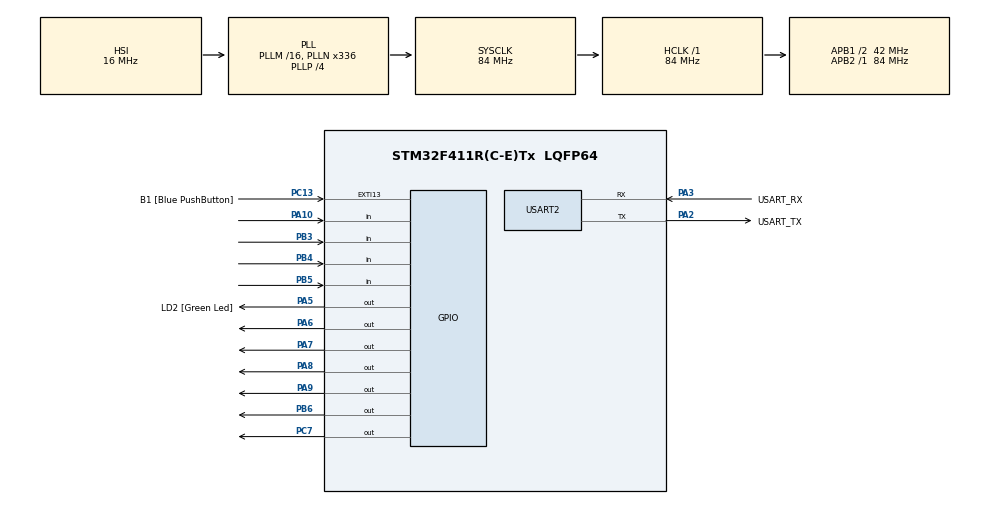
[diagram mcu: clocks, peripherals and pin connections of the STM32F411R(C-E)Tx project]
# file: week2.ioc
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Mcu.Family=STM32F4
Mcu.Name=STM32F411R(C-E)Tx
Mcu.Package=LQFP64
NVIC.PriorityGroup=NVIC_PRIORITYGROUP_0
PA10.GPIO_PuPd=GPIO_PULLUP
PA10.Signal=GPIO_Input
PA13.GPIO_Label=TMS
PA13.Mode=Serial_Wire
PA13.Signal=SYS_JTMS-SWDIO
PA14.GPIO_Label=TCK
PA14.Mode=Serial_Wire
PA14.Signal=SYS_JTCK-SWCLK
PA2.GPIO_Label=USART_TX
PA2.Mode=Asynchronous
PA2.Signal=USART2_TX
PA3.GPIO_Label=USART_RX
PA3.Mode=Asynchronous
PA3.Signal=USART2_RX
PA5.GPIO_Label=LD2 [Green Led]
PA5.GPIO_ModeDefaultOutputPP=GPIO_MODE_OUTPUT_OD
PA5.PinState=GPIO_PIN_RESET
PA5.Signal=GPIO_Output
PA6.Signal=GPIO_Output
PA7.GPIO_ModeDefaultOutputPP=GPIO_MODE_OUTPUT_OD
PA7.PinState=GPIO_PIN_SET
PA7.Signal=GPIO_Output
PA8.Signal=GPIO_Output
PA9.GPIO_ModeDefaultOutputPP=GPIO_MODE_OUTPUT_OD
PA9.PinState=GPIO_PIN_SET
PA9.Signal=GPIO_Output
PB3.GPIO_PuPd=GPIO_PULLUP
PB3.Signal=GPIO_Input
PB4.GPIO_PuPd=GPIO_PULLUP
PB4.Signal=GPIO_Input
PB5.GPIO_PuPd=GPIO_PULLUP
PB5.Signal=GPIO_Input
PB6.GPIO_ModeDefaultOutputPP=GPIO_MODE_OUTPUT_OD
PB6.PinState=GPIO_PIN_SET
PB6.Signal=GPIO_Output
PC13-ANTI_TAMP.GPIO_Label=B1 [Blue PushButton]
PC13-ANTI_TAMP.GPIO_ModeDefaultEXTI=GPIO_MODE_IT_FALLING
PC13-ANTI_TAMP.Signal=GPXTI13
PC14-OSC32_IN.Mode=LSE-External-Oscillator
PC14-OSC32_IN.Signal=RCC_OSC32_IN
PC15-OSC32_OUT.Mode=LSE-External-Oscillator
PC15-OSC32_OUT.Signal=RCC_OSC32_OUT
PC7.GPIO_ModeDefaultOutputPP=GPIO_MODE_OUTPUT_OD
PC7.PinState=GPIO_PIN_SET
PC7.Signal=GPIO_Output
PH0\ -\ OSC_IN.Mode=HSE-External-Clock-Source
PH0\ -\ OSC_IN.Signal=RCC_OSC_IN
PH1\ -\ OSC_OUT.Mode=HSE-External-Clock-Source
PH1\ -\ OSC_OUT.Signal=RCC_OSC_OUT
ProjectManager.HeapSize=0x200
ProjectManager.StackSize=0x400
ProjectManager.TargetToolchain=STM32CubeIDE
RCC.48MHZClocksFreq_Value=84000000
RCC.AHBFreq_Value=84000000
RCC.APB1CLKDivider=RCC_HCLK_DIV2
RCC.APB1Freq_Value=42000000
RCC.APB1TimFreq_Value=84000000
RCC.APB2Freq_Value=84000000
RCC.APB2TimFreq_Value=84000000
RCC.CortexFreq_Value=84000000
RCC.FLatency-AdvancedSettings=FLASH_LATENCY_2
RCC.HCLKFreq_Value=84000000
RCC.HSE_VALUE=8000000
RCC.HSI_VALUE=16000000
RCC.PLLN=336
RCC.PLLP=RCC_PLLP_DIV4
RCC.SYSCLKFreq_VALUE=84000000
RCC.SYSCLKSource=RCC_SYSCLKSOURCE_PLLCLK
RCC.VCOOutputFreq_Value=336000000
USART2.VirtualMode=VM_ASYNC
board=NUCLEO-F411RE

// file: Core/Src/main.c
/* USER CODE BEGIN Header */
/**
  ******************************************************************************
  * @file           : main.c
  * @brief          : Main program body
  ******************************************************************************
  * @attention
  *
  * <h2><center>&copy; Copyright (c) 2021 STMicroelectronics.
  * All rights reserved.</center></h2>
  *
  * This software component is licensed by ST under BSD 3-Clause license,
  * the "License"; You may not use this file except in compliance with the
  * License. You may obtain a copy of the License at:
  *                        opensource.org/licenses/BSD-3-Clause
  *
  ******************************************************************************
  */
/* USER CODE END Header */
#include "main.h"

UART_HandleTypeDef huart2;

/* USER CODE BEGIN PV */

uint16_t ButtonMatrixState = 0;
uint32_t ButtonMatrixTimeStamp = 0;
uint32_t Buttonpress[2] = {0};
uint8_t LED = 0;
uint8_t state = 1;
enum
{
	statestart = 0,
 ///////////////////////////////////
	press_1 = 256,
	press_2 = 512,
	press_3 = 1024,
	press_4 = 16,
	press_5 = 32,
	press_6 = 64,
	press_7 = 1,
	press_8 = 2,
	press_9 = 4,
	press_0 = 4096,
	press_OK = 32768,
	press_Clear= 8

};

/* USER CODE END PV */

void SystemClock_Config(void);
static void MX_GPIO_Init(void);
static void MX_USART2_UART_Init(void);
/* USER CODE BEGIN PFP */

void ButtonMatrixUpdate(); //Scan and Update data of Button Matrix

/* USER CODE END PFP */

int main(void)
{

  /* MCU Configuration--------------------------------------------------------*/

  /* Reset of all peripherals, Initializes the Flash interface and the Systick. */
  HAL_Init();

  /* Configure the system clock */
  SystemClock_Config();

  /* Initialize all configured peripherals */
  MX_GPIO_Init();
  MX_USART2_UART_Init();
  /* USER CODE BEGIN 2 */
  //--------------------------------------------------------------------------------

  //--------------------------------------------------------------------------------
  /* USER CODE END 2 */

  /* Infinite loop */
  /* USER CODE BEGIN WHILE */

  //--------------------------------------------------------------------------------
  while (1)
  {
	  ButtonMatrixUpdate();
	  Buttonpress[0] = ButtonMatrixState;
	  if(ButtonMatrixState == 1  || ButtonMatrixState == 2   || ButtonMatrixState == 4   || ButtonMatrixState == 8  ||
	     ButtonMatrixState == 16 || ButtonMatrixState ==32   || ButtonMatrixState ==64   || ButtonMatrixState == 256||
	     ButtonMatrixState ==512 || ButtonMatrixState ==1024 || ButtonMatrixState ==4096 || ButtonMatrixState == 32768 )
	  {
	      HAL_GPIO_WritePin(GPIOA, GPIO_PIN_6, GPIO_PIN_RESET);
	  }
	  else
	  {
		  HAL_GPIO_WritePin(GPIOA, GPIO_PIN_6, GPIO_PIN_SET);
	  }
	  if(Buttonpress[0] == 0 && Buttonpress[1] != 0)
	  {
		  switch(state)
		     {

		      case 1:
		         if(Buttonpress[1] == press_6)
		         {
		          state = 2;
		         }
		           else
		         {
		          state = 1;
		         }
		         break;
		      case 2:
		    	 if(Buttonpress[1] == press_2)
		         {
		          state = 3;
		         }
		         else
		         {
		          state = 1;
		         }
		         break;
		      case 3:
		         if(Buttonpress[1] == press_3)
		         {
		          state = 4;
		         }
		         else
		         {
		          state = 1;
		         }
		         break;
		      case 4:
		         if(Buttonpress[1] == press_4)
		         {
		          state = 5;
		         }
		         else
		         {
		          state = 1;
		         }
		         break;
		      case 5:
		         if(Buttonpress[1] == press_0)
		         {
		          state = 6;
		         }
		         else
		         {
		          state = 1;
		         }
		         break;
		      case 6:
		         if(Buttonpress[1] == press_5)
		         {
		          state = 7;
		         }
		         else
		         {
		          state = 1;
		         }
		         break;
		      case 7:
		         if(Buttonpress[1] == press_0)
		         {
		          state = 8;
		         }
		         else
		         {
		          state = 1;
		         }
		         break;
		      case 8:
		         if(Buttonpress[1] == press_0)
		         {
		          state = 9;
		         }
		         else
		         {
		          state = 1;
		         }
		         break;
		      case 9:
		         if(Buttonpress[1] == press_0)
		         {
		          state = 10;
		         }
		         else
		         {
		          state = 1;
		         }
		         break;
		      case 10:
		         if(Buttonpress[1] == press_5)
		         {
		          state = 11;
		         }
		         else
		         {
		          state = 1;
		         }
		         break;
		      case 11:
		         if(Buttonpress[1] == press_3)
		         {
		          state = 12;
		         }
		         else
		         {
		          state = 1;
		         }
		         break;
		      case 12:
		         if(Buttonpress[1] == press_OK)
		         {
		          LED = 1;
		         }
		         else
		         {
		          state = 1;
		          LED = 0;
		         }
		         break;
		      default:
		         state = 1;
		         break;
		     }
	  }
	  Buttonpress[1] = Buttonpress[0];

	  //Run LED (key = 62340500053) ----------------------------------------//
	  if(LED == 1  )
	  {
		  HAL_GPIO_WritePin(GPIOA, GPIO_PIN_8, GPIO_PIN_RESET);
	  }
	  else
	  {
		  HAL_GPIO_WritePin(GPIOA, GPIO_PIN_8, GPIO_PIN_SET);
	  }

  //--------------------------------------------------------------------------------
    /* USER CODE END WHILE */

  }
}

void SystemClock_Config(void)
{
  RCC_OscInitTypeDef RCC_OscInitStruct = {0};
  RCC_ClkInitTypeDef RCC_ClkInitStruct = {0};

  /** Configure the main internal regulator output voltage
  */
  __HAL_RCC_PWR_CLK_ENABLE();
  __HAL_PWR_VOLTAGESCALING_CONFIG(PWR_REGULATOR_VOLTAGE_SCALE1);
  /** Initializes the RCC Oscillators according to the specified parameters
  * in the RCC_OscInitTypeDef structure.
  */
  RCC_OscInitStruct.OscillatorType = RCC_OSCILLATORTYPE_HSI;
  RCC_OscInitStruct.HSIState = RCC_HSI_ON;
  RCC_OscInitStruct.HSICalibrationValue = RCC_HSICALIBRATION_DEFAULT;
  RCC_OscInitStruct.PLL.PLLState = RCC_PLL_ON;
  RCC_OscInitStruct.PLL.PLLSource = RCC_PLLSOURCE_HSI;
  RCC_OscInitStruct.PLL.PLLM = 16;
  RCC_OscInitStruct.PLL.PLLN = 336;
  RCC_OscInitStruct.PLL.PLLP = RCC_PLLP_DIV4;
  RCC_OscInitStruct.PLL.PLLQ = 4;
  if (HAL_RCC_OscConfig(&RCC_OscInitStruct) != HAL_OK)
  {
    Error_Handler();
  }
  /** Initializes the CPU, AHB and APB buses clocks
  */
  RCC_ClkInitStruct.ClockType = RCC_CLOCKTYPE_HCLK|RCC_CLOCKTYPE_SYSCLK
                              |RCC_CLOCKTYPE_PCLK1|RCC_CLOCKTYPE_PCLK2;
  RCC_ClkInitStruct.SYSCLKSource = RCC_SYSCLKSOURCE_PLLCLK;
  RCC_ClkInitStruct.AHBCLKDivider = RCC_SYSCLK_DIV1;
  RCC_ClkInitStruct.APB1CLKDivider = RCC_HCLK_DIV2;
  RCC_ClkInitStruct.APB2CLKDivider = RCC_HCLK_DIV1;

  if (HAL_RCC_ClockConfig(&RCC_ClkInitStruct, FLASH_LATENCY_2) != HAL_OK)
  {
    Error_Handler();
  }
}

static void MX_USART2_UART_Init(void)
{

  huart2.Instance = USART2;
  huart2.Init.BaudRate = 115200;
  huart2.Init.WordLength = UART_WORDLENGTH_8B;
  huart2.Init.StopBits = UART_STOPBITS_1;
  huart2.Init.Parity = UART_PARITY_NONE;
  huart2.Init.Mode = UART_MODE_TX_RX;
  huart2.Init.HwFlowCtl = UART_HWCONTROL_NONE;
  huart2.Init.OverSampling = UART_OVERSAMPLING_16;
  if (HAL_UART_Init(&huart2) != HAL_OK)
  {
    Error_Handler();
  }

}

static void MX_GPIO_Init(void)
{
  GPIO_InitTypeDef GPIO_InitStruct = {0};

  /* GPIO Ports Clock Enable */
  __HAL_RCC_GPIOC_CLK_ENABLE();
  __HAL_RCC_GPIOH_CLK_ENABLE();
  __HAL_RCC_GPIOA_CLK_ENABLE();
  __HAL_RCC_GPIOB_CLK_ENABLE();

  /*Configure GPIO pin Output Level */
  HAL_GPIO_WritePin(GPIOA, LD2_Pin|GPIO_PIN_6|GPIO_PIN_8, GPIO_PIN_RESET);

  /*Configure GPIO pin Output Level */
  HAL_GPIO_WritePin(GPIOA, GPIO_PIN_7|GPIO_PIN_9, GPIO_PIN_SET);

  /*Configure GPIO pin Output Level */
  HAL_GPIO_WritePin(GPIOC, GPIO_PIN_7, GPIO_PIN_SET);

  /*Configure GPIO pin Output Level */
  HAL_GPIO_WritePin(GPIOB, GPIO_PIN_6, GPIO_PIN_SET);

  /*Configure GPIO pin : B1_Pin */
  GPIO_InitStruct.Pin = B1_Pin;
  GPIO_InitStruct.Mode = GPIO_MODE_IT_FALLING;
  GPIO_InitStruct.Pull = GPIO_NOPULL;
  HAL_GPIO_Init(B1_GPIO_Port, &GPIO_InitStruct);

  /*Configure GPIO pins : LD2_Pin PA7 PA9 */
  GPIO_InitStruct.Pin = LD2_Pin|GPIO_PIN_7|GPIO_PIN_9;
  GPIO_InitStruct.Mode = GPIO_MODE_OUTPUT_OD;
  GPIO_InitStruct.Pull = GPIO_NOPULL;
  GPIO_InitStruct.Speed = GPIO_SPEED_FREQ_LOW;
  HAL_GPIO_Init(GPIOA, &GPIO_InitStruct);

  /*Configure GPIO pins : PA6 PA8 */
  GPIO_InitStruct.Pin = GPIO_PIN_6|GPIO_PIN_8;
  GPIO_InitStruct.Mode = GPIO_MODE_OUTPUT_PP;
  GPIO_InitStruct.Pull = GPIO_NOPULL;
  GPIO_InitStruct.Speed = GPIO_SPEED_FREQ_LOW;
  HAL_GPIO_Init(GPIOA, &GPIO_InitStruct);

  /*Configure GPIO pin : PC7 */
  GPIO_InitStruct.Pin = GPIO_PIN_7;
  GPIO_InitStruct.Mode = GPIO_MODE_OUTPUT_OD;
  GPIO_InitStruct.Pull = GPIO_NOPULL;
  GPIO_InitStruct.Speed = GPIO_SPEED_FREQ_LOW;
  HAL_GPIO_Init(GPIOC, &GPIO_InitStruct);

  /*Configure GPIO pin : PA10 */
  GPIO_InitStruct.Pin = GPIO_PIN_10;
  GPIO_InitStruct.Mode = GPIO_MODE_INPUT;
  GPIO_InitStruct.Pull = GPIO_PULLUP;
  HAL_GPIO_Init(GPIOA, &GPIO_InitStruct);

  /*Configure GPIO pins : PB3 PB4 PB5 */
  GPIO_InitStruct.Pin = GPIO_PIN_3|GPIO_PIN_4|GPIO_PIN_5;
  GPIO_InitStruct.Mode = GPIO_MODE_INPUT;
  GPIO_InitStruct.Pull = GPIO_PULLUP;
  HAL_GPIO_Init(GPIOB, &GPIO_InitStruct);

  /*Configure GPIO pin : PB6 */
  GPIO_InitStruct.Pin = GPIO_PIN_6;
  GPIO_InitStruct.Mode = GPIO_MODE_OUTPUT_OD;
  GPIO_InitStruct.Pull = GPIO_NOPULL;
  GPIO_InitStruct.Speed = GPIO_SPEED_FREQ_LOW;
  HAL_GPIO_Init(GPIOB, &GPIO_InitStruct);

}

/* USER CODE BEGIN 4 */
//Function Implementation
GPIO_TypeDef* ButtonMatrixPort[8] = {GPIOA,       GPIOB,      GPIOB,      GPIOB,             GPIOA,      GPIOC,      GPIOB,      GPIOA     };
uint16_t      ButtonMatrixPin [8] = {GPIO_PIN_10, GPIO_PIN_3, GPIO_PIN_5, GPIO_PIN_4,        GPIO_PIN_9, GPIO_PIN_7, GPIO_PIN_6, GPIO_PIN_7};
uint8_t       ButtonMatrixLine    = 0;
void ButtonMatrixUpdate()
{
	if(HAL_GetTick() - ButtonMatrixTimeStamp >= 100)
	{
		ButtonMatrixTimeStamp = HAL_GetTick();
		for(int i = 0; i < 4; i++)
		{
			GPIO_PinState PinState = HAL_GPIO_ReadPin(ButtonMatrixPort[i], ButtonMatrixPin[i]);
			if(PinState == GPIO_PIN_RESET) // Button is Pressed
			{
				ButtonMatrixState |= (uint16_t)1 << (i + ButtonMatrixLine * 4);

			}
			else
			{
				ButtonMatrixState &= ~((uint16_t)1 << (i + ButtonMatrixLine * 4));

			}
		}
		uint8_t NowOutputPin = ButtonMatrixLine + 4;
		HAL_GPIO_WritePin(ButtonMatrixPort[NowOutputPin], ButtonMatrixPin[NowOutputPin], GPIO_PIN_SET);
		ButtonMatrixLine = (ButtonMatrixLine + 1) % 4;

		uint8_t NextOutputPin = ButtonMatrixLine + 4;
		HAL_GPIO_WritePin(ButtonMatrixPort[NextOutputPin], ButtonMatrixPin[NextOutputPin], GPIO_PIN_RESET);
	}
}

/* USER CODE END 4 */

void Error_Handler(void)
{
  __disable_irq();
  while (1)
  {
  }
}

/************************ (C) COPYRIGHT STMicroelectronics *****END OF FILE****/
